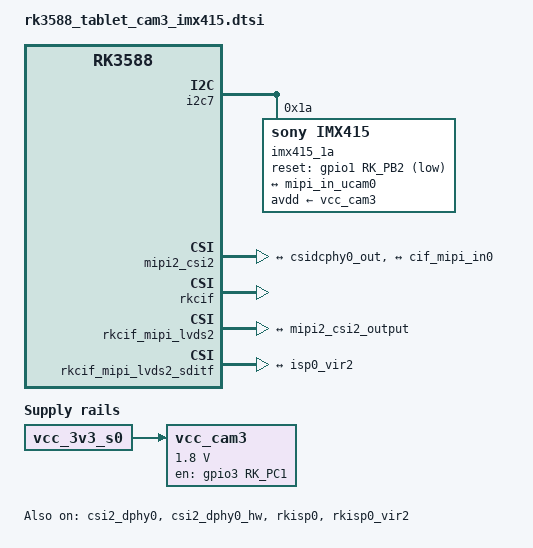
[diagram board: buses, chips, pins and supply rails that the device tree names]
// rk3588_tablet_lcd_mipi_hdmi.dtsi
//gh8555  hygd

/ {



	vcc_cam3: vcc-cam3 {
		compatible = "regulator-fixed";
		regulator-name = "vcc_cam3";
		regulator-boot-on;
		regulator-always-on;
		regulator-min-microvolt = <1800000>;
		regulator-max-microvolt = <1800000>;
		enable-active-high;
		gpio = <&gpio3 RK_PC1 GPIO_ACTIVE_HIGH>;
		vin-supply = <&vcc_3v3_s0>;
		pinctrl-names = "default";
		pinctrl-0 = <&vcc_cam3_pwr>;
	};
};


&i2c7 {
	status = "okay";
	pinctrl-names = "default";
	pinctrl-0 = <&i2c7m0_xfer>;

	imx415_1a: imx415@1a {
		compatible = "sony,imx415";
		reg = <0x1a>;
		clocks = <&cru CLK_MIPI_CAMARAOUT_M4>;
		clock-names = "xvclk";
		pinctrl-names = "default";
		//pinctrl-0 = <&mipim0_camera1_clk>, <&imx415_power_pwr>, <&imx415_reset_pwr>;
		pinctrl-0 = <&mipim0_camera4_clk>;//, <&imx415_reset_pwr>;

		power-domains = <&power RK3588_PD_VI>;
		//power-gpios = <&gpio3 RK_PC1 GPIO_ACTIVE_HIGH>;
		reset-gpios = <&gpio1 RK_PB2 GPIO_ACTIVE_LOW>;//<&gpio1 RK_PB4 GPIO_ACTIVE_HIGH>;
		avdd-supply = <&vcc_cam3>;
		rockchip,camera-module-index = <2>;
		rockchip,camera-module-facing = "back";
		rockchip,camera-module-name = "CMK-OT2022-PX1";
		rockchip,camera-module-lens-name = "IR0147-50IRC-8M-F20";
		port {
			imx415_out0: endpoint {
				remote-endpoint = <&mipi_in_ucam0>;
				data-lanes = <1 2 3 4>;
			};
		};
	};
};


&csi2_dphy0 {
	status = "okay";

	ports {
		#address-cells = <1>;
		#size-cells = <0>;
		port@0 {
			reg = <0>;
			#address-cells = <1>;
			#size-cells = <0>;

			mipi_in_ucam0: endpoint@1 {
				reg = <1>;
				remote-endpoint = <&imx415_out0>;
				data-lanes = <1 2 3 4>;
			};
		};
		port@1 {
			reg = <1>;
			#address-cells = <1>;
			#size-cells = <0>;

			csidcphy0_out: endpoint@0 {
				reg = <0>;
				remote-endpoint = <&mipi2_csi2_input>;
			};
		};
	};
};




&mipi2_csi2 {
	status = "okay";

	ports {
		#address-cells = <1>;
		#size-cells = <0>;

		port@0 {
			reg = <0>;
			#address-cells = <1>;
			#size-cells = <0>;

			mipi2_csi2_input: endpoint@1 {
				reg = <1>;
				remote-endpoint = <&csidcphy0_out>;
			};
		};

		port@1 {
			reg = <1>;
			#address-cells = <1>;
			#size-cells = <0>;

			mipi2_csi2_output: endpoint@0 {
				reg = <0>;
				remote-endpoint = <&cif_mipi_in0>;
			};
		};
	};
};

&csi2_dphy0_hw {
	status = "okay";
};



&rkcif {
	status = "okay";
};

&rkcif_mipi_lvds2 {
	status = "okay";

	port {
		cif_mipi_in0: endpoint {
			remote-endpoint = <&mipi2_csi2_output>;
		};
	};
};

&rkcif_mipi_lvds2_sditf {
	status = "okay";

	port {
		mipi_lvds2_sditf: endpoint {
			remote-endpoint = <&isp0_vir2>;
		};
	};
};

&rkcif_mmu {
	status = "okay";
};

&rkisp0{
	status = "okay";
};

&isp0_mmu {
	status = "okay";
};

&rkisp0_vir2 {
	status = "okay";

	port {
		#address-cells = <1>;
		#size-cells = <0>;

		isp0_vir2: endpoint@0 {
			reg = <0>;
			remote-endpoint = <&mipi_lvds2_sditf>;
		};
	};
};


&pinctrl {
	vcc_mipi {
		vcc_cam3_pwr: vcc-cam3-pwr{
			rockchip,pins = <3 RK_PC1 RK_FUNC_GPIO &pcfg_pull_none>;
		};


	};

	imx415 {
		imx415_reset_pwr: imx415-reset-pwr {
			//rockchip,pins = <1 RK_PB5 RK_FUNC_GPIO &pcfg_pull_none>;
			rockchip,pins = <1 RK_PB2 RK_FUNC_GPIO &pcfg_pull_none>;
		};
	};

};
